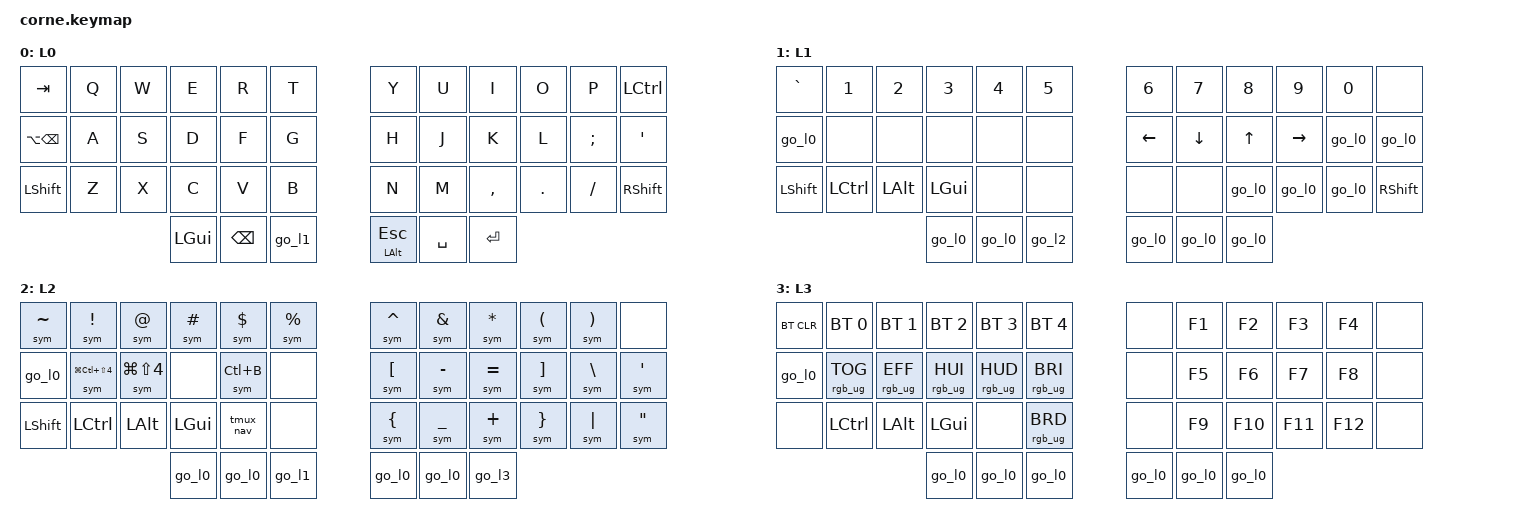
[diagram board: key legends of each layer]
/*
 * Copyright (c) 2020 The ZMK Contributors
 * SPDX-License-Identifier: MIT
 *
 * Corne Keymap v24
 * Reference: https://zmk.dev/docs/keymaps/behaviors/key-press
 * Notation (LP/RP/LT/RT, L0–L3, M1–M4/M1b–M4b): corne_prod_v20_notation.md
 *
 * Changes from v23:
 *  - [cc] 2026-11-23: LP2 (left-most column, row 2) on L1, L2, L3 = go_l0 (one tap back to L0; was &none).
 *  - [cc] 2026-11-23: RT3 (right inner thumb) on L1, L2, L3 = go_l0 (was &none).
 *  - [cc] 2026-11-23: every empty left thumb on L1, L2, L3 = go_l0: LT1 on L1/L2/L3 and LT3 on L3
 *    (was &none). On L3 every thumb now returns to L0.
 *  - [cc] 2026-11-23: L1 , . / ; ' = go_l0. , . / were the mirrored right mods (RGUI RALT RCTRL), now removed
 *    from L1; ; and ' were &none. RP3 right Shift on L1 is kept.
 *
 * v23 changes from v22 (kept for history):
 *  - [cc] 2026-11-22: SC (Cmd+Ctrl+Shift+4), SCA (Cmd+Shift+4) and C-b (Ctrl+B) moved from L1 to
 *    L2 on the same A / S / F keys, as one-shot &sym keys (send, then back to L0) like the
 *    other L2 keys; their L1 spots are now &none.
 *  - [cc] 2026-11-22: L2 Ctrl+← / Ctrl+→ (D / F) removed to make room: D = &none, F = C-b.
 *  - [cc] 2026-11-22: mac_sc / mac_sca macros removed (replaced by &sym with modifier functions).
 *  - [cc] 2026-11-23: L2 V = &tmux_nav (C-b, then v: toggles tmux statusline-navigation mode),
 *    then back to L0 like the other L2 keys.
 *
 * v22 changes from v21 (the Sofle v5 changes, ported; kept for history):
 *  - [cc] L2 D / F = Ctrl+← / Ctrl+→ (the Corne had none before).
 *  - [cc] L2 symbols (incl. ' and ") and Ctrl+← / Ctrl+→ are one-shot: &sym taps the key, then
 *    returns to L0 with the L0 colour (white), like go_l0. Mods held at the same time still apply;
 *    a one-shot key does not auto-repeat when held.
 *  - [cc] RT1 on L1 and L3 = go_l0, the same as RT2 (and LT2).
 *  - [cc] L2 LT3 = go_l1 (L1 ⇄ L2 by tapping LT3); L2 RT1 (right-end thumb) = go_l3, the only way to L3.
 *    The Sofle uses its fifth (outermost) right thumb for this; RT1 is the Corne's right-end thumb.
 *
 * v21 changes from v20 (kept for history):
 *  - [cc] L3: added underglow brightness up (G) / down (B) under HUD's row.
 *  - [cc] Per-layer underglow colour: layer-switch keys (LT3, LT2, RT2) are now
 *    macros go_l0..go_l3 that switch layer + set colour.
 *    L0 = white, L1 = green, L2 = blue, L3 = purple. Colour only; on/off
 *    is left to TOG on L3.
 *  - [cc] Layer colours use custom &rgb_hs (hue+sat only), so BRI/BRD
 *    brightness persists across layer switches (was reset every switch).
 *  - [cc] RT2 on L1–L3 = go_l0 (thumb way back to L0).
 *  - [cc] LP2 on L1–L3 = &none.
 *  - [cc] LT2 on L1–L3 = go_l0 (left-thumb way back to L0, mirrors RT2).
 *  - [cc] L0: RP2 = ' (was M2/Alt); RT3 = tap ESC / hold M2 (Alt) via &mt.
 *  - [cc] L2: * is now plain STAR (was KP_MULTIPLY, keypad code);
 *    LP3 = M4 (left Shift) for Shift-shortcuts like Cmd+Shift+[.
 *
 * v20 changes from v19 (kept for history):
 *  - [cc] Four layers only: L0 Default, L1 Lower, L2 Raise, L3 Func.
 *    v19 Num (3) and Template (5) removed; v19 Func moved to L3.
 *  - [cc] Layer switching is persistent (&to), no hold-layers:
 *      LT3 steps L0 → L1 → L2 → L3 (none on L3);
 *      LP2 on L1–L3 jumps back to L0.
 *  - [cc] No transparent keys: every unused key is &none.
 *  - [cc] L0 outer/thumb keys reassigned: LP1 TAB, LP2 Alt+BSPC, LP3 LShift,
 *    RP1 Ctrl, RP2 Alt, RP3 RShift, LT1 Cmd, LT2 BSPC, RT3 ESC, RT2 SPC, RT1 ENT.
 *    All modifiers are plain holds (no sticky keys, no mod-taps).
 *  - [cc] L1–L3: Ctrl/Alt/Cmd on Z X C; L1 also has mirrored right mods on
 *    / . , and Shift on LP3/RP3.
 *  - [cc] L2: ' and " moved to RP2/RP3; ~ on LP1.
 *  - [cc] L3: F1–F12 on the U–/ 4×3 block, RGB on A S D F, BT_CLR on LP1;
 *    media keys removed.
 *  - [cc] Removed unused macros/behaviors (ctrl_alt_*, cmd_*, macos_input,
 *    lm_lwr_lgui, ht_lm_esc, ht_sl_mo) and the Num layer.
 *  - [cc] Each layer has a display-name so the OLED shows L0–L3.
 */

#include <behaviors.dtsi>
#include <dt-bindings/zmk/keys.h>
#include <dt-bindings/zmk/bt.h>
#include <dt-bindings/zmk/rgb.h>

// ============================================================
// Hardware
// ============================================================

&led_strip {
    chain-length = <27>;
};

// ============================================================
// Layer indices
// ============================================================

#define L0 0
#define L1 1
#define L2 2
#define L3 3


// ============================================================
// Behaviors
// ============================================================

/ {
    behaviors {
        // [cc] v21: custom behavior from this repo's module (zephyr/module.yml).
        // &rgb_hs <hue> <sat>: set underglow colour, keep current brightness.
        // Node name kept short (split transport sends behavior names).
        rgb_hs: rgb_hs {
            compatible = "zmk,behavior-rgb-hue-sat";
            #binding-cells = <2>;
        };
    };
};

// ============================================================
// Macros
// ============================================================

/ {
    macros {


        // [cc] v21: per-layer underglow colour. Stock ZMK has no per-layer
        // RGB, so every layer-switch key is a macro that switches the layer
        // AND sets the colour. They only set the colour, never on/off: on/off
        // is controlled solely by TOG on L3. (HSB: hue 0–360, sat 0–100,
        // brightness 0–100.)
        // [cc] Uses the custom &rgb_hs behavior (src/behaviors/behavior_rgb_hue_sat.c)
        // which sets hue + saturation only, so BRI/BRD brightness persists
        // across layer switches.
        // Effect should be "solid" (EFF) for the colour to show cleanly.

        // L0: white (sat 0)
        go_l0: go_l0 {
            compatible = "zmk,behavior-macro";
            #binding-cells = <0>;
            wait-ms = <0>;
            tap-ms  = <0>;
            bindings
                = <&macro_tap &rgb_hs 0 0>
                , <&macro_tap &to L0>
                ;
        };

        // [cc] v22: one-shot key for L2 (ported from Sofle v5). &sym X taps X, then goes to L0
        // [cc] and sets the L0 colour, so each L2 symbol drops back to the base layer after one press.
        sym: symbol_then_l0 {
            compatible = "zmk,behavior-macro-one-param";
            #binding-cells = <1>;
            bindings
                = <&macro_param_1to1>
                , <&macro_tap &kp MACRO_PLACEHOLDER>
                , <&macro_tap &rgb_hs 0 0>
                , <&macro_tap &to L0>
                ;
        };

        // [cc] v23: tmux nav key. Sends the tmux prefix C-b, then v, which toggles tmux's
        // [cc] statusline-navigation mode (ysconfig tmux/scripts/slnav.conf), then returns to L0
        // [cc] with the L0 colour, like the other one-shot L2 keys.
        tmux_nav: tmux_nav {
            compatible = "zmk,behavior-macro";
            #binding-cells = <0>;
            bindings
                = <&macro_tap &kp LC(B) &kp V>
                , <&macro_tap &rgb_hs 0 0>
                , <&macro_tap &to L0>
                ;
        };

        // L1: green
        go_l1: go_l1 {
            compatible = "zmk,behavior-macro";
            #binding-cells = <0>;
            wait-ms = <0>;
            tap-ms  = <0>;
            bindings
                = <&macro_tap &rgb_hs 120 100>
                , <&macro_tap &to L1>
                ;
        };

        // L2: blue
        go_l2: go_l2 {
            compatible = "zmk,behavior-macro";
            #binding-cells = <0>;
            wait-ms = <0>;
            tap-ms  = <0>;
            bindings
                = <&macro_tap &rgb_hs 240 100>
                , <&macro_tap &to L2>
                ;
        };

        // L3: purple
        go_l3: go_l3 {
            compatible = "zmk,behavior-macro";
            #binding-cells = <0>;
            wait-ms = <0>;
            tap-ms  = <0>;
            bindings
                = <&macro_tap &rgb_hs 280 100>
                , <&macro_tap &to L3>
                ;
        };
    };
};

// ============================================================
// Keymap
// ============================================================

/ {
    keymap {
        compatible = "zmk,keymap";

        // ----------------------------------------------------
        // L0 — Default (QWERTY)
        //
        // │ TAB    │ Q │ W │ E │ R │ T │   │ Y │ U │ I │ O │ P │ M1  │
        // │ M2+BSPC│ A │ S │ D │ F │ G │   │ H │ J │ K │ L │ ; │ '   │
        // │ M4     │ Z │ X │ C │ V │ B │   │ N │ M │ , │ . │ / │ M4b │
        //        M3 │ BSPC │ →L1     ESC/M2 │ SPC │ ENT
        // ----------------------------------------------------
        default_layer {
            display-name = "L0";
            bindings = <
   &kp TAB       &kp Q  &kp W  &kp E  &kp R     &kp T        &kp Y    &kp U      &kp I      &kp O    &kp P     &kp LCTRL
   &kp LA(BSPC)  &kp A  &kp S  &kp D  &kp F     &kp G        &kp H    &kp J      &kp K      &kp L    &kp SEMI  &kp SQT 
   &kp LSHFT     &kp Z  &kp X  &kp C  &kp V     &kp B        &kp N    &kp M      &kp COMMA  &kp DOT  &kp FSLH  &kp RSHFT
                               &kp LGUI  &kp BSPC  &go_l1    &mt LALT ESC  &kp SPACE  &kp RET
            >;
        };

        // ----------------------------------------------------
        // L1 — Lower: numbers, arrows, mods
        // [cc] v23: SC / SCA / C-b moved to L2 (same A / S / F keys).
        //
        // │ `   │ 1  │ 2   │ 3  │ 4   │ 5 │   │ 6 │ 7 │ 8   │ 9   │ 0   │ ✕   │
        // │ →L0 │ ✕  │ ✕   │ ✕  │ ✕   │ ✕ │   │ ← │ ↓ │ ↑   │ →   │ →L0 │ →L0 │
        // │ M4  │ M1 │ M2  │ M3 │ ✕   │ ✕ │   │ ✕ │ ✕ │ →L0 │ →L0 │ →L0 │ M4b │
        //      →L0 │ →L0 │ →L2     →L0 │ →L0 │ →L0   ([cc] v22: RT1 →L0; v24: LP2, LT1, RT3, , . / ; ' →L0)
        // ----------------------------------------------------
        lower_layer {
            display-name = "L1";
            bindings = <
   &kp GRAVE  &kp N1     &kp N2    &kp N3    &kp N4     &kp N5     &kp N6    &kp N7    &kp N8    &kp N9     &kp N0     &none
   &go_l0     &none      &none     &none     &none      &none      &kp LEFT  &kp DOWN  &kp UP    &kp RIGHT  &go_l0     &go_l0
   &kp LSHFT  &kp LCTRL  &kp LALT  &kp LGUI  &none      &none      &none     &none     &go_l0    &go_l0     &go_l0     &kp RSHFT
                                   &go_l0    &go_l0     &go_l2     &go_l0    &go_l0    &go_l0
            >;
        };

        // ----------------------------------------------------
        // L2 — Raise: symbols
        //
        // │ ~   │ !  │ @  │ #  │ $ │ % │   │ ^ │ & │ * │ ( │ ) │ ✕ │
        // │ →L0 │ SC │ SCA │ ✕  │ C-b │ ✕ │   │ [ │ - │ = │ ] │ \ │ ' │
        // │ M4  │ M1 │ M2 │ M3  │ NAV │ ✕ │   │ { │ _ │ + │ } │ | │ " │
        //      →L0 │ →L0 │ →L1     →L0 │ →L0 │ →L3   ([cc] v24: LP2, LT1, RT3 →L0)
        // [cc] v22: every symbol and C-← / C-→ is one-shot (&sym: type it, then back to L0).
        // [cc] v23: SC / SCA / C-b moved here from L1 (also one-shot); C-← / C-→ removed.
        // [cc] v23: V = NAV (C-b then v: tmux statusline-navigation toggle), one-shot.
        // ----------------------------------------------------
        raise_layer {
            display-name = "L2";
            bindings = <
   &sym TILDE  &sym EXCL  &sym AT   &sym HASH      &sym DLLR       &sym PRCNT    &sym CARET  &sym AMPS   &sym STAR   &sym LPAR  &sym RPAR  &none
   &go_l0      &sym LG(LC(LS(N4)))  &sym LG(LS(N4))  &none  &sym LC(B)  &none   &sym LBKT   &sym MINUS  &sym EQUAL  &sym RBKT  &sym BSLH  &sym SQT
   &kp LSHFT   &kp LCTRL  &kp LALT  &kp LGUI       &tmux_nav       &none         &sym LBRC   &sym UNDER  &sym PLUS   &sym RBRC  &sym PIPE  &sym DQT
                                    &go_l0         &go_l0          &go_l1        &go_l0      &go_l0      &go_l3
            >;
        };

        // ----------------------------------------------------
        // L3 — Func: Bluetooth, RGB underglow, F1–F12
        //
        // │ BT_CLR │ BT0 │ BT1 │ BT2 │ BT3 │ BT4 │   │ ✕ │ F1 │ F2  │ F3  │ F4  │ ✕ │
        // │ →L0    │ TOG │ EFF │ HUI │ HUD │ BRI │   │ ✕ │ F5 │ F6  │ F7  │ F8  │ ✕ │
        // │ ✕      │ M1  │ M2  │ M3  │ ✕   │ BRD │   │ ✕ │ F9 │ F10 │ F11 │ F12 │ ✕ │
        //      →L0 │ →L0 │ →L0     →L0 │ →L0 │ →L0   ([cc] v22: RT1 →L0; v24: LP2, LT1, LT3, RT3 →L0)
        // BRI/BRD = underglow brightness up/down (added in v21).
        // [cc] v24: all six thumbs exit to L0 here (LT3 was &none). [cc] v22: L3 is reached only by RT1 on L2.
        // ----------------------------------------------------
        func_layer {
            display-name = "L3";
            bindings = <
   &bt BT_CLR  &bt BT_SEL 0     &bt BT_SEL 1     &bt BT_SEL 2     &bt BT_SEL 3     &bt BT_SEL 4    &none  &kp F1  &kp F2   &kp F3   &kp F4   &none
   &go_l0      &rgb_ug RGB_TOG  &rgb_ug RGB_EFF  &rgb_ug RGB_HUI  &rgb_ug RGB_HUD  &rgb_ug RGB_BRI &none  &kp F5  &kp F6   &kp F7   &kp F8   &none
   &none       &kp LCTRL        &kp LALT         &kp LGUI         &none            &rgb_ug RGB_BRD &none  &kp F9  &kp F10  &kp F11  &kp F12  &none
                                                 &go_l0           &go_l0           &go_l0          &go_l0  &go_l0  &go_l0
            >;
        };
    };
};
